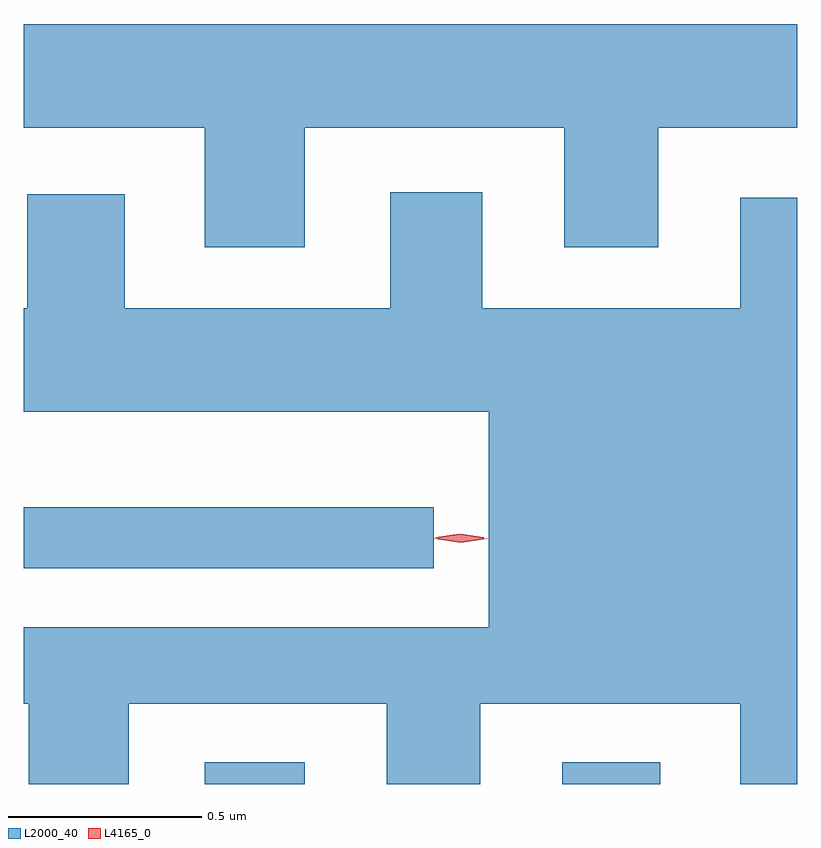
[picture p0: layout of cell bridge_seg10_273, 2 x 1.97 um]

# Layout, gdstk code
import gdstk
lib = gdstk.Library(unit=1e-6, precision=1e-09)
def R(c, l, rs):  # rectangles x0, y0, x1, y1
    for r in rs: c.add(gdstk.rectangle(r[:2], r[2:], *l))
def P(c, l, *ps):  # polygons
    for p in ps: c.add(gdstk.Polygon(p, *l))
L2000_40 = (2000, 40)
L4165_0 = (4165, 0)

bridge_seg10_273 = lib.new_cell('bridge_seg10_273')
R(bridge_seg10_273, L2000_40, [(1782.226,2098.898,1782.484,2098.954), (1783.151,2098.898,1783.404,2098.954), (1781.758,2099.456,1782.818,2099.614)])
P(bridge_seg10_273, L2000_40, [(1782.484,2100.596),(1783.156,2100.596),(1783.156,2100.286),(1783.399,2100.286),(1783.399,2100.596),(1783.758,2100.596),(1783.758,2100.864),(1781.758,2100.864),(1781.758,2100.596),(1782.226,2100.596),(1782.226,2100.286),(1782.484,2100.286)],
  [(1782.029,2099.106),(1782.696,2099.106),(1782.696,2098.898),(1782.939,2098.898),(1782.939,2099.106),(1783.611,2099.106),(1783.611,2098.898),(1783.758,2098.898),(1783.758,2100.414),(1783.611,2100.414),(1783.611,2100.129),(1782.944,2100.129),(1782.944,2100.429),(1782.706,2100.429),(1782.706,2100.129),(1782.019,2100.129),(1782.019,2100.424),(1781.766,2100.424),(1781.766,2100.129),(1781.758,2100.129),(1781.758,2099.861),(1782.961,2099.861),(1782.961,2099.304),(1781.758,2099.304),(1781.758,2099.106),(1781.771,2099.106),(1781.771,2098.898),(1782.029,2098.898)])
P(bridge_seg10_273, L4165_0, [(1782.888,2099.522),(1782.82,2099.532),(1782.819,2099.532),(1782.82,2099.533),(1782.889,2099.542),(1782.957,2099.533),(1782.958,2099.532),(1782.957,2099.532)],
  [(1782.886,2099.526),(1782.823,2099.535),(1782.823,2099.535),(1782.823,2099.536),(1782.885,2099.546),(1782.947,2099.536),(1782.948,2099.536),(1782.947,2099.535)])

lib.write_gds('bridge_seg10_273.gds')
